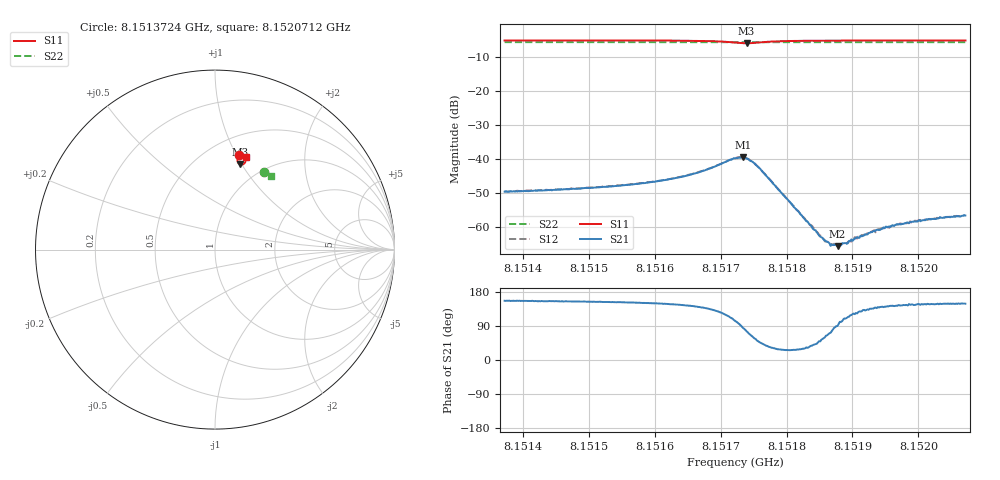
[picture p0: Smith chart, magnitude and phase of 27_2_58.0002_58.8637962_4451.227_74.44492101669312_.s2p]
#  HZ  S  RI  R  50.00
! Rohde & Schwarz Vector Network Analyzer
! Rohde-Schwarz,ZNB20-2Port,1311601062101988,3.16
! Created: UTC 3/21/2024, 12:51:26 AM
! freq[Hz]  re:S11  im:S11  re:S21  im:S21  re:S12  im:S12  re:S22  im:S22
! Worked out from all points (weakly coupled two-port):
!   401 points, 8.1513724 GHz to 8.1520712 GHz, reference 50 ohm
!   highest |S21| = -39.51 dB at 8.1517341 GHz (marker M1); lowest = -65.5 dB at 8.1518773 GHz (marker M2)
!   lowest |S11| = -6.1 dB at 8.1517393 GHz (marker M3), VSWR 2.96, Z = 39.1 + j49.2 ohm
!   |S11| at or under -10 dB: nowhere
!   |S22| runs from -5.8 to -5.8 dB; largest |S21 - S12| = 0.00037
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8.15137244e9  0.1332 0.5272  -0.00305 0.00134  -0.00305 0.00139  0.2749 0.4342
8.15148949e9  0.1432 0.5245  -0.00336 0.00162  -0.00334 0.00168  0.2811 0.4301
8.15155063e9  0.1491 0.5225  -0.00365 0.00191  -0.00367 0.00196  0.2846 0.4279
8.15160654e9  0.1555 0.5195  -0.0041 0.00247  -0.00408 0.00254  0.2876 0.4256
8.15166244e9  0.1645 0.5122  -0.00486 0.0039  -0.00481 0.00403  0.2906 0.4233
8.15172184e9  0.1629 0.4796  -0.00236 0.00988  -0.00222 0.0101  0.2931 0.42
8.15173407e9  0.1479 0.4736  0.00101 0.0105  0.00112 0.0105  0.2929 0.4196
8.15173931e9  0.1404 0.4748  0.0025 0.00987  0.00262 0.00993  0.293 0.4196
8.15174979e9  0.1288 0.4836  0.00452 0.00763  0.00456 0.00761  0.2934 0.4197
8.15175853e9  0.1252 0.4931  0.00501 0.00552  0.00505 0.00538  0.2937 0.4197
8.15183889e9  0.1458 0.5196  0.000775 0.00061  0.00082 0.00065  0.2988 0.4173
8.15184937e9  0.1476 0.5199  0.000491 0.000576  0.000515 0.000577  0.2994 0.417
8.15185811e9  0.1492 0.5199  0.000326 0.000561  0.000349 0.000518  0.3 0.4167
8.15186859e9  0.1508 0.5201  0.000135 0.000549  0.000135 0.00055  0.3005 0.4163
8.15187733e9  0.1521 0.52  1.88e-06 0.000531  -4.45e-05 0.000561  0.3011 0.4159
8.1518948e9  0.1545 0.5199  -0.00026 0.000573  -0.000276 0.000568  0.302 0.4151
8.15191227e9  0.1566 0.5198  -0.000466 0.000594  -0.000457 0.000617  0.3028 0.4145
8.15192974e9  0.1587 0.5195  -0.000609 0.000595  -0.000639 0.000597  0.3038 0.4139
8.15195594e9  0.1615 0.5191  -0.000817 0.000626  -0.000767 0.000623  0.3053 0.4128
8.15196817e9  0.1626 0.5189  -0.000891 0.000667  -0.000887 0.00065  0.3059 0.4123
8.15200311e9  0.1658 0.5181  -0.00102 0.00069  -0.00106 0.000718  0.3076 0.4108
8.15207125e9  0.1714 0.5167  -0.00127 0.000778  -0.00129 0.000778  0.3112 0.4081
